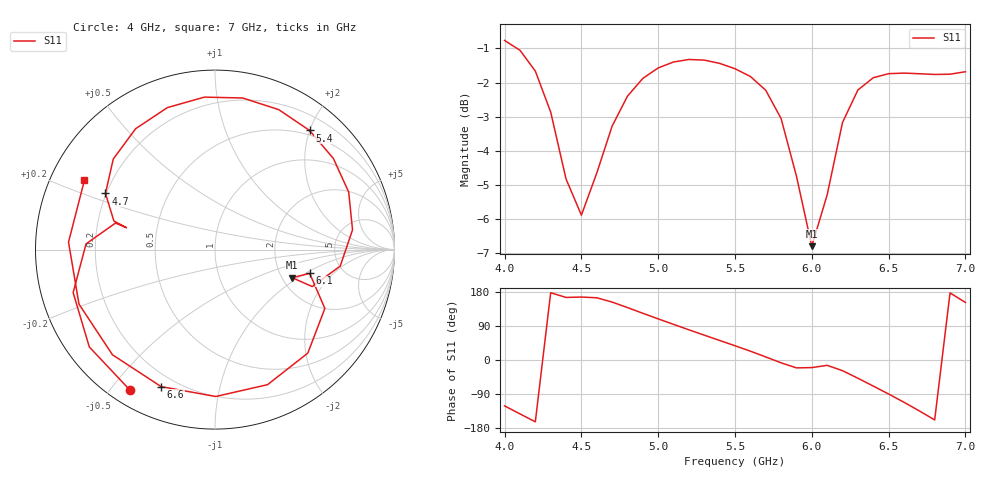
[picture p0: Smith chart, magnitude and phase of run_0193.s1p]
! Touchstone file exported from HFSS 2024.2.0
!  File:  C:/Users/wsak9/Desktop/Sim Fast/Widenad Patch/WP_AI_V1_sweep.aedt
!  Generated:  11:00:07 PM Oct 13, 2026
!  Design:  A1_model
!  Project:  WP_AI_V1_sweep
!  Setup:  Setup1
!  Solution:  Sweep
! Variables:
!  Air_gap = 1.7mm
!  Curve_Amp1 = 1.72
!  Curve_len1 = 1
!  Curve_pos = 11.085mm
!  Extra = 6.18mm
!  H_sub = 0.79mm
!  L_Patch = 18.17mm
!  L_Patch1 = 18.93mm
!  Sx = 1.14mm
!  Sy = 2.63mm
!  WS = 1.1mm
!  W_Patch = 21.06mm
!  W_Patch1 = 12.75mm
!Data is not renormalized
# GHz S MA
! Terminal data exported
! Port[1] = 1
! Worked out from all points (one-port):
!   31 points, 4 GHz to 7 GHz, reference per port
!   lowest |S11| = -6.8 dB at 6 GHz (marker M1), VSWR 2.69
!   |S11| at or under -10 dB: nowhere
!   S11 on the Smith chart (normalised r, x): 4 GHz: 0.06, -0.56; 4.7 GHz: 0.20, +0.23; 5.4 GHz: 0.42, +2.00; 6.1 GHz: 2.92, -1.10; 6.6 GHz: 0.14, -0.67; 7 GHz: 0.10, +0.25
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4  0.9156 -121.1
4.1  0.8858 -142.2
4.2  0.8258 -163.1
4.3  0.7192 177.5
4.4  0.5739 165.1
4.5  0.5081 166.1
4.6  0.5855 164.2
4.7  0.6859 152.9
4.8  0.7589 138.3
5  0.8346 108.5
5.2  0.8587 79.7
5.4  0.8474 51.5
5.5  0.8323 37.6
5.6  0.8109 23.3
5.7  0.7741 8.2
5.8  0.7037 -7.5
5.9  0.5795 -20.8
6  0.4576 -20.0
6.1  0.544 -14.1
6.2  0.6944 -28.2
6.3  0.7746 -48.1
6.4  0.8075 -68.7
6.5  0.8185 -89.7
6.6  0.8202 -111.5
6.7  0.8184 -134.3
6.8  0.8164 -158.2
6.9  0.8171 177.1
7  0.8239 152.0
